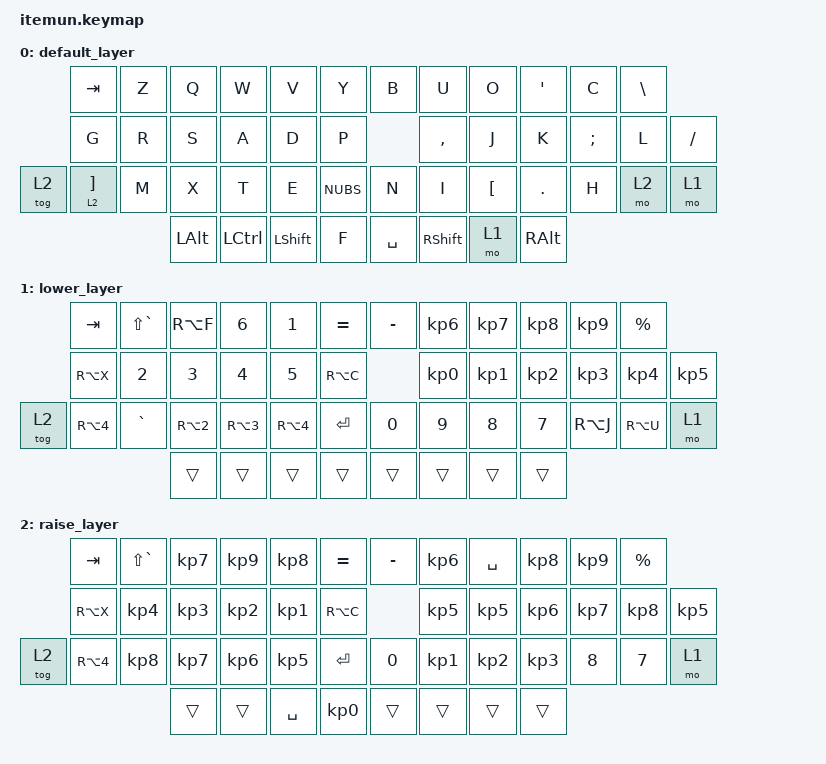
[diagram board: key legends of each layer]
#include <behaviors.dtsi>
#include <dt-bindings/zmk/keys.h>
#include <dt-bindings/zmk/bt.h>

/ {
    behaviors {
        splo: space_lower {
            compatible = "zmk,behavior-mod-morph";
            label = "SPACE_LOWER";
            #binding-cells = <0>;
            bindings = <&kp SPACE>, <&mo 1>;
            mods = <(MOD_LSFT)>;
        };
    };
};

#define COMBO(NAME, TIME, BINDINGS, KEYPOS) \
  combo_##NAME { \
    timeout-ms = <TIME>; \
    bindings = <BINDINGS>; \
    key-positions = <KEYPOS>; \
  };
//         ______________________      ________________________
//        |0  |1  |2  |3  |4  |5  |    |6  |7  |8  |9  |10 |11 |
//     ___|12 |13 |14 |15 |16 |17 |    |18 |19 |20 |21 |22 |23 |___
//    | 24|25 |26 |27 |28 |29 |30 |    |31 |32 |33 |34 |35 |36 | 37|
//     ‾‾‾‾‾‾‾‾‾‾‾|38 |39 |40 |41 |    |42 |43 |44 |45 |46 |‾‾‾‾‾‾‾‾               
//                 ‾‾‾‾‾‾‾‾‾‾‾‾‾‾‾      ‾‾‾‾‾‾‾‾‾‾‾‾‾‾‾‾‾‾‾
/ {
        combos {
                compatible = "zmk,combos";

                COMBO(circonflexe, 70, &kp Y, 33 34)
                COMBO(tiret, 70, &kp N8, 32 33)                

                COMBO(fleche_haut, 50, &kp UP, 3 15)
                COMBO(fleche_bas, 50, &kp DOWN, 15 28)
                COMBO(fleche_gauche, 50, &kp LEFT, 12 13)              
                COMBO(fleche_droite, 50, &kp RIGHT, 16 17)

                COMBO(supr, 50, &kp DEL, 4 16)
                COMBO(retour, 50, &kp BSPC, 18 19)
                COMBO(retour_bis, 50, &kp BSPC, 5 17)
                COMBO(enter_un, 80, &kp ENTER, 13 14 15 16)
                COMBO(enter_two, 80, &kp ENTER, 14 15 16)
                COMBO(esc, 50, &kp ESC, 0 1)

                COMBO(ctrl_z, 50, &kp LC(LBKT), 26 27)
                COMBO(ctrl_c, 50, &kp LC(H), 27 28)
                COMBO(ctrl_v, 50, &kp LC(U), 28 29)
                COMBO(ctrl_s, 50, &kp LC(K), 4 5) 

//                COMBO(lower, 100, &mo 1, 40 42)

        };

    keymap {
        compatible = "zmk,keymap";

        default_layer {

            bindings = <
          &kp TAB	    &kp Z	     &kp Q	   &kp W	 &kp V     &kp Y            &kp B	      &kp U	     &kp O	   &kp APOS	 &kp C	&kp BSLH
	        &kp G	      &kp R	     &kp S	   &kp A	 &kp D	   &kp P            &kp COMMA   &kp J	     &kp K	   &kp SEMI	 &kp L	&kp SLASH
&tog 2    &lt 2 RBKT  &kp M	     &kp X	   &kp T	 &kp E	   &kp NUBS         &kp N	      &kp I	     &kp LBKT  &kp DOT   &kp H	&mo 2   &mo 1  
                               &kp LALT  &kp LCTRL &kp LSHFT &kp F	          &kp SPACE   &kp RSHFT  &mo 1	   &kp RALT
            >;      
        };

		lower_layer {
		
			bindings = <
        &kp TAB	    &kp LS(GRAVE) &kp RA(F)	  &kp N6	    &kp N1	 &kp EQUAL			         &kp MINUS  &kp KP_N6  &kp KP_N7   &kp KP_N8  &kp KP_N9	 &kp PRCNT
        &kp RA(X)   &kp N2	      &kp N3	    &kp N4	    &kp N5     &kp RA(C)			       &kp KP_N0  &kp KP_N1  &kp KP_N2   &kp KP_N3  &kp KP_N4	 &kp KP_N5
&tog 2  &kp RA(N4)  &kp GRAVE     &kp RA(N2)  &kp RA(N3)  &kp RA(N4) &kp ENTER             &kp N0	    &kp N9     &kp N8	     &kp N7	    &kp RA(J)    &kp RA(U)   &mo 1  
                                  &trans      &trans      &trans     &trans                &trans     &trans     &trans      &trans
        			>;
	    	};

		raise_layer {
		
			bindings = <
        &kp TAB	    &kp LS(GRAVE) &kp KP_N7	  &kp KP_N9	  &kp KP_N8	 &kp EQUAL			       &kp MINUS  &kp KP_N6   &kp SPACE    &kp KP_N8   &kp KP_N9	&kp PRCNT
        &kp RA(X)   &kp KP_N4	    &kp KP_N3	  &kp KP_N2	  &kp KP_N1  &kp RA(C)			       &kp KP_N5  &kp KP_N5   &kp KP_N6    &kp KP_N7   &kp KP_N8  &kp KP_N5
&tog 2  &kp RA(N4)  &kp KP_N8     &kp KP_N7	  &kp KP_N6	  &kp KP_N5  &kp ENTER             &kp N0	    &kp KP_N1	  &kp KP_N2	   &kp KP_N3   &kp N8	    &kp N7	  &mo 1     
                                  &trans      &trans      &kp SPACE  &kp KP_N0             &trans     &trans      &trans       &trans
        			>;
	    	};
    };
};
